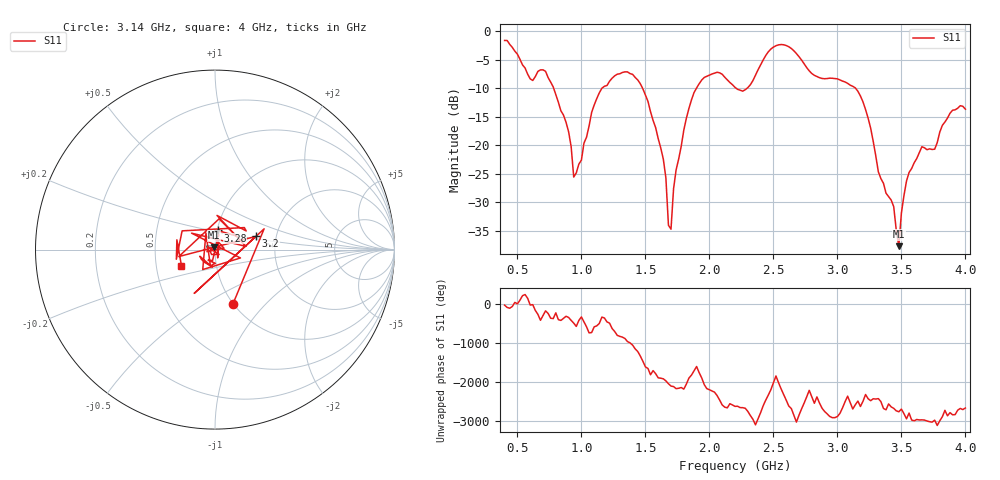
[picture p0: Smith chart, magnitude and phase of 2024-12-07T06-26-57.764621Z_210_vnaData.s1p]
!Created with skrf (http://scikit-rf.org).
# Hz S RI R 50.0
!freq ReS11 ImS11
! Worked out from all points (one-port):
!   181 points, 400 MHz to 4 GHz, reference 50 ohm
!   lowest |S11| = -37.7 dB at 3.48 GHz (marker M1), VSWR 1.03, Z = 49.6 + j1.22 ohm
!   |S11| at or under -10 dB: 782.9 MHz to 1.161 GHz (378.2 MHz wide, 38.9 % of centre); 1.478 GHz to 1.899 GHz (421.7 MHz wide, 25 % of centre); 3.142 GHz to end of sweep (the widest 3 of 4)
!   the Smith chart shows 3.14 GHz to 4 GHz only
!   S11 on the Smith chart (normalised r, x): 3.14 GHz: 1.00, -0.67; 3.2 GHz: 1.57, +0.25; 3.28 GHz: 1.01, +0.22; 4 GHz: 0.68, -0.13
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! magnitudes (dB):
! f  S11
! 400 MHz  -1.6
! 600 MHz  -8.4
! 720 MHz  -7.1
! 860 MHz  -14.7
! 920 MHz  -20.3
! 940 MHz  -25.6
! 1.12 GHz  -11.8
! 1.3 GHz  -7.5
! 1.52 GHz  -12.3
! 1.64 GHz  -22.4
! 1.68 GHz  -34.0
! 1.7 GHz  -34.7
! 1.72 GHz  -27.6
! 1.76 GHz  -22.4
! 1.84 GHz  -13.6
! 1.94 GHz  -8.6
! 2.2 GHz  -9.9
! 2.5 GHz  -2.8
! 2.66 GHz  -3.5
! 3.1 GHz  -9.5
! 3.14 GHz  -10.0
! 3.2 GHz  -12.4
! 3.28 GHz  -19.3
! 3.44 GHz  -30.8
! 3.48 GHz  -37.7
! 3.5 GHz  -31.9
! 3.56 GHz  -24.8
! 4 GHz  -13.7
